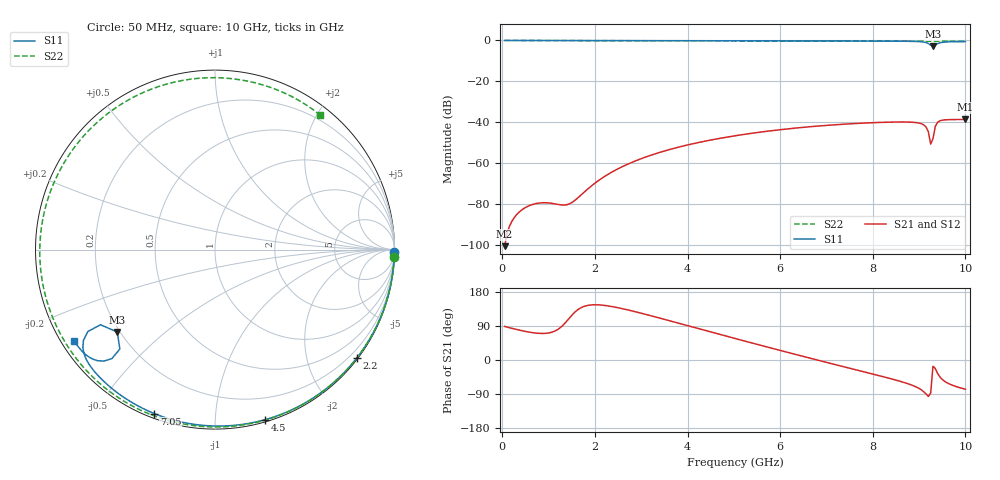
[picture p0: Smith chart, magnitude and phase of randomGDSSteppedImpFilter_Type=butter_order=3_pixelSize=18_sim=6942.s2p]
! freq	dB(S11)	phase(S11)	dB(S12)	phase(S12)
!  dB(S21)	phase(S21)	dB(S22)	phase(S22)
!S-par simulation data
#  GHz  S  DB  R 50
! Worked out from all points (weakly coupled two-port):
!   200 points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, 50 MHz to 10 GHz, reference 50 ohm
!   highest |S21| = -38.69 dB at 10 GHz (marker M1); lowest = -100.7 dB at 50 MHz (marker M2)
!   lowest |S11| = -2.9 dB at 9.3 GHz (marker M3), VSWR 5.95, Z = 9.49 - j17.7 ohm
!   |S11| at or under -10 dB: nowhere
!   |S22| runs from -0.4 to 0.0 dB; largest |S21 - S12| = 0
!   S11 on the Smith chart (normalised r, x): 50 MHz: open; 2.2 GHz: 0.03, -2.96; 4.5 GHz: 0.02, -1.33; 7.05 GHz: 0.02, -0.70; 10 GHz: 0.04, -0.30
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0.05  -0.00 -0.9  -100.72 88.6  -100.72 88.6  -0.00 -2.3
0.65  -0.01 -11.2  -80.33 72.2  -80.33 72.2  -0.04 -29.8
1.05  -0.02 -18.0  -79.68 72.6  -79.68 72.6  -0.06 -47.4
1.45  -0.03 -24.8  -79.99 111.1  -79.99 111.1  -0.08 -64.2
1.75  -0.04 -29.9  -74.64 140.7  -74.64 140.7  -0.09 -76.1
2.2  -0.05 -37.3  -66.71 144.2  -66.71 144.2  -0.10 -92.9
2.75  -0.06 -46.3  -60.16 131.1  -60.16 131.1  -0.12 -111.8
3.4  -0.08 -56.7  -54.81 110.6  -54.81 110.6  -0.14 -132.1
4.5  -0.11 -73.7  -48.76 74.1  -48.76 74.1  -0.18 -162.9
5.05  -0.13 -81.9  -46.59 56.0  -46.59 56.0  -0.20 -177.3
5.85  -0.16 -93.5  -44.09 30.1  -44.09 30.1  -0.24 162.5
6.7  -0.21 -105.5  -42.13 3.1  -42.13 3.1  -0.28 141.2
7.05  -0.23 -110.4  -41.49 -7.8  -41.49 -7.8  -0.30 132.3
8.35  -0.34 -128.7  -40.00 -48.1  -40.00 -48.1  -0.36 98.2
9.05  -0.63 -141.8  -40.77 -78.8  -40.77 -78.8  -0.39 79.0
9.15  -1.01 -145.4  -42.37 -89.6  -42.37 -89.6  -0.39 76.2
9.2  -1.49 -147.2  -44.68 -96.2  -44.68 -96.2  -0.40 74.8
9.25  -2.35 -146.7  -50.75 -87.5  -50.75 -87.5  -0.40 73.4
9.3  -2.95 -139.8  -48.11 -16.5  -48.11 -16.5  -0.40 71.9
9.35  -2.31 -133.7  -42.12 -22.6  -42.12 -22.6  -0.40 70.5
9.45  -1.14 -134.9  -39.34 -44.8  -39.34 -44.8  -0.40 67.7
10  -0.58 -147.0  -38.69 -77.0  -38.69 -77.0  -0.43 52.0
